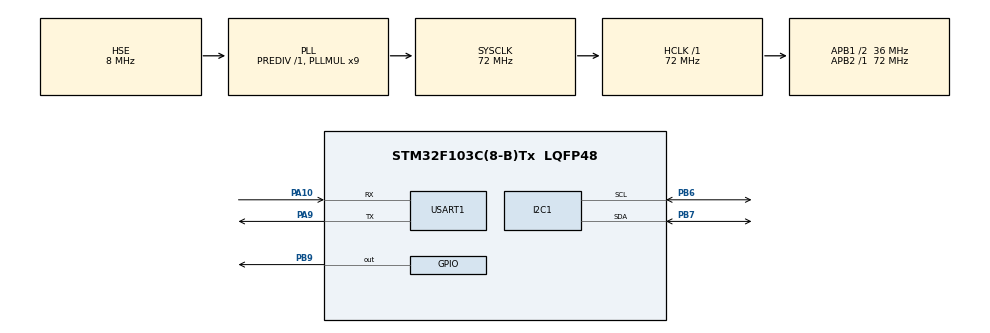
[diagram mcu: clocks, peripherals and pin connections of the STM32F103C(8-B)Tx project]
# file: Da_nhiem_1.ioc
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FREERTOS.Tasks01=DO_DO_AM,24,128,DO_AM,Default,NULL,Dynamic,NULL,NULL;DO_NHIET_DO,24,128,NHIET_DO,Default,NULL,Dynamic,NULL,NULL;HIEN_THI_OLED,24,128,OLED,Default,NULL,Dynamic,NULL,NULL;TRUYEN_UART,24,128,UART,Default,NULL,Dynamic,NULL,NULL
FREERTOS.configUSE_NEWLIB_REENTRANT=1
Mcu.Family=STM32F1
Mcu.Name=STM32F103C(8-B)Tx
Mcu.Package=LQFP48
NVIC.PriorityGroup=NVIC_PRIORITYGROUP_4
NVIC.TIM2_IRQn=true\:15\:0\:false\:false\:true\:false\:false\:true\:true
NVIC.TIM4_IRQn=true\:5\:0\:false\:false\:true\:true\:true\:true\:true
NVIC.TimeBase=TIM2_IRQn
NVIC.TimeBaseIP=TIM2
NVIC.USART1_IRQn=true\:5\:0\:false\:false\:true\:true\:true\:true\:true
PA10.Mode=Asynchronous
PA10.Signal=USART1_RX
PA13.Mode=Serial_Wire
PA13.Signal=SYS_JTMS-SWDIO
PA14.Mode=Serial_Wire
PA14.Signal=SYS_JTCK-SWCLK
PA9.Mode=Asynchronous
PA9.Signal=USART1_TX
PB6.Mode=I2C
PB6.Signal=I2C1_SCL
PB7.Mode=I2C
PB7.Signal=I2C1_SDA
PB9.Signal=GPIO_Output
PD0-OSC_IN.Mode=HSE-External-Oscillator
PD0-OSC_IN.Signal=RCC_OSC_IN
PD1-OSC_OUT.Mode=HSE-External-Oscillator
PD1-OSC_OUT.Signal=RCC_OSC_OUT
ProjectManager.HeapSize=0x200
ProjectManager.StackSize=0x400
ProjectManager.TargetToolchain=STM32CubeIDE
RCC.AHBFreq_Value=72000000
RCC.APB1CLKDivider=RCC_HCLK_DIV2
RCC.APB1Freq_Value=36000000
RCC.APB1TimFreq_Value=72000000
RCC.APB2Freq_Value=72000000
RCC.APB2TimFreq_Value=72000000
RCC.HCLKFreq_Value=72000000
RCC.PLLMUL=RCC_PLL_MUL9
RCC.PLLSourceVirtual=RCC_PLLSOURCE_HSE
RCC.SYSCLKFreq_VALUE=72000000
RCC.SYSCLKSource=RCC_SYSCLKSOURCE_PLLCLK
RCC.USBFreq_Value=72000000
TIM1.Prescaler=71
TIM4.Period=999
TIM4.Prescaler=71
USART1.VirtualMode=VM_ASYNC
VP_FREERTOS_VS_CMSIS_V2.Mode=CMSIS_V2
VP_SYS_VS_tim2.Mode=TIM2
VP_TIM1_VS_ClockSourceINT.Mode=Internal
VP_TIM4_VS_ClockSourceINT.Mode=Internal
board=custom

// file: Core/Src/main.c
/* USER CODE BEGIN Header */
/**
  ******************************************************************************
  * @file           : main.c
  * @brief          : Main program body
  ******************************************************************************
  * @attention
  *
  * Copyright (c) 2025 STMicroelectronics.
  * All rights reserved.
  *
  * This software is licensed under terms that can be found in the LICENSE file
  * in the root directory of this software component.
  * If no LICENSE file comes with this software, it is provided AS-IS.
  *
  ******************************************************************************
  */
/* USER CODE END Header */
#include "main.h"
#include "cmsis_os.h"
#include "ssd1306.h"
#include "fonts.h"
#include "stdio.h"

/* USER CODE BEGIN Includes */
osMutexId_t tempMutexHandle;
osMutexId_t humMutexHandle;
/* USER CODE END Includes */

I2C_HandleTypeDef hi2c1;

TIM_HandleTypeDef htim1;
TIM_HandleTypeDef htim4;

UART_HandleTypeDef huart1;

/* Definitions for HIEN_THI_OLED */
osThreadId_t DO_NHIET_DOHandle;
const osThreadAttr_t DO_NHIET_DO_attributes = {
  .name = "DO_NHIET_DO",
  .stack_size = 512 * 4,
  .priority = (osPriority_t) osPriorityLow,
};
/* Definitions for DO_DO_AM */
osThreadId_t DO_DO_AMHandle;
const osThreadAttr_t DO_DO_AM_attributes = {
  .name = "DO_DO_AM",
  .stack_size = 512 * 4,
  .priority = (osPriority_t) osPriorityLow,
};
osThreadId_t HIEN_THI_OLEDHandle;
const osThreadAttr_t HIEN_THI_OLED_attributes = {
  .name = "HIEN_THI_OLED",
  .stack_size = 256 * 4,
  .priority = (osPriority_t) osPriorityLow,
};
/* Definitions for TRUYEN_UART */
osThreadId_t TRUYEN_UARTHandle;
const osThreadAttr_t TRUYEN_UART_attributes = {
  .name = "TRUYEN_UART",
  .stack_size = 512 * 4,
  .priority = (osPriority_t) osPriorityLow,
};
/* Definitions for DO_NHIET_DO */

void SystemClock_Config(void);
static void MX_GPIO_Init(void);
static void MX_I2C1_Init(void);
static void MX_USART1_UART_Init(void);
static void MX_TIM1_Init(void);
static void MX_TIM4_Init(void);
void OLED(void *argument);
void UART(void *argument);
void NHIET_DO(void *argument);
void DO_AM(void *argument);

/* USER CODE BEGIN 0 */
#define DHT11_PORT GPIOB
#define DHT11_PIN GPIO_PIN_9
uint8_t RHI, RHD, TCI, TCD, SUM;
uint32_t pMillis, cMillis;
float temp = 0;
float humi = 0;

char strCopy[20];

void microDelay (uint16_t delay)
{
  __HAL_TIM_SET_COUNTER(&htim1, 0);
  while (__HAL_TIM_GET_COUNTER(&htim1) < delay);
}

uint8_t DHT11_Start (void)
{
  uint8_t Response = 0;
  GPIO_InitTypeDef GPIO_InitStructPrivate = {0};
  GPIO_InitStructPrivate.Pin = DHT11_PIN;
  GPIO_InitStructPrivate.Mode = GPIO_MODE_OUTPUT_PP;
  GPIO_InitStructPrivate.Speed = GPIO_SPEED_FREQ_LOW;
  GPIO_InitStructPrivate.Pull = GPIO_NOPULL;
  HAL_GPIO_Init(DHT11_PORT, &GPIO_InitStructPrivate); // set the pin as output
  HAL_GPIO_WritePin (DHT11_PORT, DHT11_PIN, 0);   // pull the pin low
  HAL_Delay(20);   // wait for 20ms
  HAL_GPIO_WritePin (DHT11_PORT, DHT11_PIN, 1);   // pull the pin high
  microDelay (30);   // wait for 30us
  GPIO_InitStructPrivate.Mode = GPIO_MODE_INPUT;
  GPIO_InitStructPrivate.Pull = GPIO_PULLUP;
  HAL_GPIO_Init(DHT11_PORT, &GPIO_InitStructPrivate); // set the pin as input
  microDelay (40);
  if (!(HAL_GPIO_ReadPin (DHT11_PORT, DHT11_PIN)))
  {
    microDelay (80);
    if ((HAL_GPIO_ReadPin (DHT11_PORT, DHT11_PIN))) Response = 1;
  }
  pMillis = HAL_GetTick();
  cMillis = HAL_GetTick();
  while ((HAL_GPIO_ReadPin (DHT11_PORT, DHT11_PIN)) && pMillis + 2 > cMillis)
  {
    cMillis = HAL_GetTick();
  }
  return Response;
}

uint8_t DHT11_Read (void)
{
  uint8_t a,b;
  for (a=0;a<8;a++)
  {
    pMillis = HAL_GetTick();
    cMillis = HAL_GetTick();
    while (!(HAL_GPIO_ReadPin (DHT11_PORT, DHT11_PIN)) && pMillis + 2 > cMillis)
    {  // wait for the pin to go high
      cMillis = HAL_GetTick();
    }
    microDelay (40);   // wait for 40 us
    if (!(HAL_GPIO_ReadPin (DHT11_PORT, DHT11_PIN)))   // if the pin is low
      b&= ~(1<<(7-a));
    else
      b|= (1<<(7-a));
    pMillis = HAL_GetTick();
    cMillis = HAL_GetTick();
    while ((HAL_GPIO_ReadPin (DHT11_PORT, DHT11_PIN)) && pMillis + 2 > cMillis)
    {  // wait for the pin to go low
      cMillis = HAL_GetTick();
    }
  }
  return b;
}

/* USER CODE END 0 */

int main(void)
{

  /* MCU Configuration--------------------------------------------------------*/

  /* Reset of all peripherals, Initializes the Flash interface and the Systick. */
  HAL_Init();

  /* Configure the system clock */
  SystemClock_Config();

  /* Initialize all configured peripherals */
  MX_GPIO_Init();
  MX_I2C1_Init();
  MX_USART1_UART_Init();
  MX_TIM1_Init();
  MX_TIM4_Init();
  /* USER CODE BEGIN 2 */
  HAL_TIM_Base_Start(&htim1);
    SSD1306_Init();

  /* USER CODE END 2 */

  /* Init scheduler */
  osKernelInitialize();

  /* USER CODE BEGIN RTOS_MUTEX */
  /* add mutexes, ... */
  tempMutexHandle = osMutexNew(NULL);
   humMutexHandle = osMutexNew(NULL);
  /* USER CODE END RTOS_MUTEX */

    DO_NHIET_DOHandle = osThreadNew(NHIET_DO, NULL, &DO_NHIET_DO_attributes);

     /* creation of DO_DO_AM */
     DO_DO_AMHandle = osThreadNew(DO_AM, NULL, &DO_DO_AM_attributes);
  /* Create the thread(s) */
  /* creation of HIEN_THI_OLED */
     TRUYEN_UARTHandle = osThreadNew(UART, NULL, &TRUYEN_UART_attributes);
  HIEN_THI_OLEDHandle = osThreadNew(OLED, NULL, &HIEN_THI_OLED_attributes);

  /* creation of TRUYEN_UART */

  /* creation of DO_NHIET_DO */

  /* Start scheduler */
  osKernelStart();

  /* We should never get here as control is now taken by the scheduler */

  /* Infinite loop */
  while (1)
  {

  }
}

void SystemClock_Config(void)
{
  RCC_OscInitTypeDef RCC_OscInitStruct = {0};
  RCC_ClkInitTypeDef RCC_ClkInitStruct = {0};

  /** Initializes the RCC Oscillators according to the specified parameters
  * in the RCC_OscInitTypeDef structure.
  */
  RCC_OscInitStruct.OscillatorType = RCC_OSCILLATORTYPE_HSE;
  RCC_OscInitStruct.HSEState = RCC_HSE_ON;
  RCC_OscInitStruct.HSEPredivValue = RCC_HSE_PREDIV_DIV1;
  RCC_OscInitStruct.HSIState = RCC_HSI_ON;
  RCC_OscInitStruct.PLL.PLLState = RCC_PLL_ON;
  RCC_OscInitStruct.PLL.PLLSource = RCC_PLLSOURCE_HSE;
  RCC_OscInitStruct.PLL.PLLMUL = RCC_PLL_MUL9;
  if (HAL_RCC_OscConfig(&RCC_OscInitStruct) != HAL_OK)
  {
    Error_Handler();
  }

  /** Initializes the CPU, AHB and APB buses clocks
  */
  RCC_ClkInitStruct.ClockType = RCC_CLOCKTYPE_HCLK|RCC_CLOCKTYPE_SYSCLK
                              |RCC_CLOCKTYPE_PCLK1|RCC_CLOCKTYPE_PCLK2;
  RCC_ClkInitStruct.SYSCLKSource = RCC_SYSCLKSOURCE_PLLCLK;
  RCC_ClkInitStruct.AHBCLKDivider = RCC_SYSCLK_DIV1;
  RCC_ClkInitStruct.APB1CLKDivider = RCC_HCLK_DIV2;
  RCC_ClkInitStruct.APB2CLKDivider = RCC_HCLK_DIV1;

  if (HAL_RCC_ClockConfig(&RCC_ClkInitStruct, FLASH_LATENCY_2) != HAL_OK)
  {
    Error_Handler();
  }
}

static void MX_I2C1_Init(void)
{

  hi2c1.Instance = I2C1;
  hi2c1.Init.ClockSpeed = 400000;
  hi2c1.Init.DutyCycle = I2C_DUTYCYCLE_2;
  hi2c1.Init.OwnAddress1 = 0;
  hi2c1.Init.AddressingMode = I2C_ADDRESSINGMODE_7BIT;
  hi2c1.Init.DualAddressMode = I2C_DUALADDRESS_DISABLE;
  hi2c1.Init.OwnAddress2 = 0;
  hi2c1.Init.GeneralCallMode = I2C_GENERALCALL_DISABLE;
  hi2c1.Init.NoStretchMode = I2C_NOSTRETCH_DISABLE;
  if (HAL_I2C_Init(&hi2c1) != HAL_OK)
  {
    Error_Handler();
  }

}

static void MX_TIM1_Init(void)
{

  TIM_ClockConfigTypeDef sClockSourceConfig = {0};
  TIM_MasterConfigTypeDef sMasterConfig = {0};

  htim1.Instance = TIM1;
  htim1.Init.Prescaler = 71;
  htim1.Init.CounterMode = TIM_COUNTERMODE_UP;
  htim1.Init.Period = 65535;
  htim1.Init.ClockDivision = TIM_CLOCKDIVISION_DIV1;
  htim1.Init.RepetitionCounter = 0;
  htim1.Init.AutoReloadPreload = TIM_AUTORELOAD_PRELOAD_DISABLE;
  if (HAL_TIM_Base_Init(&htim1) != HAL_OK)
  {
    Error_Handler();
  }
  sClockSourceConfig.ClockSource = TIM_CLOCKSOURCE_INTERNAL;
  if (HAL_TIM_ConfigClockSource(&htim1, &sClockSourceConfig) != HAL_OK)
  {
    Error_Handler();
  }
  sMasterConfig.MasterOutputTrigger = TIM_TRGO_RESET;
  sMasterConfig.MasterSlaveMode = TIM_MASTERSLAVEMODE_DISABLE;
  if (HAL_TIMEx_MasterConfigSynchronization(&htim1, &sMasterConfig) != HAL_OK)
  {
    Error_Handler();
  }

}

static void MX_TIM4_Init(void)
{

  /* USER CODE BEGIN TIM4_Init 0 */
	 __HAL_RCC_TIM4_CLK_ENABLE();
  /* USER CODE END TIM4_Init 0 */

  TIM_ClockConfigTypeDef sClockSourceConfig = {0};
  TIM_MasterConfigTypeDef sMasterConfig = {0};

  htim4.Instance = TIM4;
  htim4.Init.Prescaler = 71;
  htim4.Init.CounterMode = TIM_COUNTERMODE_UP;
  htim4.Init.Period = 999;
  htim4.Init.ClockDivision = TIM_CLOCKDIVISION_DIV1;
  htim4.Init.AutoReloadPreload = TIM_AUTORELOAD_PRELOAD_ENABLE;
  if (HAL_TIM_Base_Init(&htim4) != HAL_OK)
  {
    Error_Handler();
  }
  sClockSourceConfig.ClockSource = TIM_CLOCKSOURCE_INTERNAL;
  if (HAL_TIM_ConfigClockSource(&htim4, &sClockSourceConfig) != HAL_OK)
  {
    Error_Handler();
  }
  sMasterConfig.MasterOutputTrigger = TIM_TRGO_RESET;
  sMasterConfig.MasterSlaveMode = TIM_MASTERSLAVEMODE_DISABLE;
  if (HAL_TIMEx_MasterConfigSynchronization(&htim4, &sMasterConfig) != HAL_OK)
  {
    Error_Handler();
  }
  /* USER CODE BEGIN TIM4_Init 2 */
  HAL_NVIC_EnableIRQ(TIM4_IRQn);
  HAL_TIM_Base_Start_IT(&htim4);
  /* USER CODE END TIM4_Init 2 */

}

static void MX_USART1_UART_Init(void)
{

  huart1.Instance = USART1;
  huart1.Init.BaudRate = 115200;
  huart1.Init.WordLength = UART_WORDLENGTH_8B;
  huart1.Init.StopBits = UART_STOPBITS_1;
  huart1.Init.Parity = UART_PARITY_NONE;
  huart1.Init.Mode = UART_MODE_TX_RX;
  huart1.Init.HwFlowCtl = UART_HWCONTROL_NONE;
  huart1.Init.OverSampling = UART_OVERSAMPLING_16;
  if (HAL_UART_Init(&huart1) != HAL_OK)
  {
    Error_Handler();
  }

}

static void MX_GPIO_Init(void)
{
  GPIO_InitTypeDef GPIO_InitStruct = {0};

  /* GPIO Ports Clock Enable */
  __HAL_RCC_GPIOD_CLK_ENABLE();
  __HAL_RCC_GPIOA_CLK_ENABLE();
  __HAL_RCC_GPIOB_CLK_ENABLE();

  /*Configure GPIO pin Output Level */
  HAL_GPIO_WritePin(GPIOB, GPIO_PIN_9, GPIO_PIN_RESET);

  /*Configure GPIO pin : PB9 */
  GPIO_InitStruct.Pin = GPIO_PIN_9;
  GPIO_InitStruct.Mode = GPIO_MODE_OUTPUT_PP;
  GPIO_InitStruct.Pull = GPIO_NOPULL;
  GPIO_InitStruct.Speed = GPIO_SPEED_FREQ_LOW;
  HAL_GPIO_Init(GPIOB, &GPIO_InitStruct);

}

/* USER CODE BEGIN Header_OLED */
/**
  * @brief  Function implementing the HIEN_THI_OLED thread.
  * @param  argument: Not used
  * @retval None
  */
void NHIET_DO(void *argument) {
    for (;;) {
        osMutexAcquire(tempMutexHandle, osWaitForever);
        if(DHT11_Start())
       		      {
       		        RHI = DHT11_Read(); // Relative humidity integral
       		        RHD = DHT11_Read(); // Relative humidity decimal
       		        TCI = DHT11_Read(); // Celsius integral
       		        TCD = DHT11_Read(); // Celsius decimal
       		        SUM = DHT11_Read(); // Check sum
       		        if (RHI + RHD + TCI + TCD == SUM)
       		        {

       		         temp = (float)TCI + (float)(TCD/10.0);

       }
       		      }
        osMutexRelease(tempMutexHandle);

        osDelay(1000);
    }
}

/* Task đo độ ẩm */
void DO_AM(void *argument) {
    for (;;) {
        osMutexAcquire(humMutexHandle, osWaitForever);

   	 if(DHT11_Start())
   		      {
   		        RHI = DHT11_Read(); // Relative humidity integral
   		        RHD = DHT11_Read(); // Relative humidity decimal
   		        TCI = DHT11_Read(); // Celsius integral
   		        TCD = DHT11_Read(); // Celsius decimal
   		        SUM = DHT11_Read(); // Check sum
   		       if (RHI + RHD + TCI + TCD == SUM)
   		       		        {
   		          humi = (float)RHI + (float)(RHD/10.0);

    }

} osMutexRelease(humMutexHandle);
   	 osDelay(1000);
    }
}
/* USER CODE END Header_OLED */
void OLED(void *argument) {
    for (;;) {
        osMutexAcquire(tempMutexHandle, osWaitForever);
        osMutexAcquire(humMutexHandle, osWaitForever);

        SSD1306_Clear();
        sprintf(strCopy, "TEMP :%.1f C  ", temp);
        SSD1306_GotoXY(0, 0);
        SSD1306_Puts(strCopy, &Font_7x10, 1);

        sprintf(strCopy, "HUMI :%.1f %%  ", humi);
        SSD1306_GotoXY(0, 30);
        SSD1306_Puts(strCopy, &Font_7x10, 1);
        SSD1306_UpdateScreen();

        osMutexRelease(tempMutexHandle);
        osMutexRelease(humMutexHandle);

        osDelay(3000);
}
}
/* Task UART */
void UART(void *argument) {
    char buffer[100];
    for (;;) {
        osMutexAcquire(tempMutexHandle, osWaitForever);
        osMutexAcquire(humMutexHandle, osWaitForever);

        snprintf(buffer, sizeof(buffer), "Temperature: %.1f C, Humidity: %.1f %%\r\n", temp, humi);
        osMutexRelease(tempMutexHandle);
        osMutexRelease(humMutexHandle);

        if (HAL_UART_Transmit(&huart1, (uint8_t*)buffer, strlen(buffer), HAL_MAX_DELAY) != HAL_OK) {
            Error_Handler();
        }

        osDelay(3000);
    }
}

/* Task đo nhiệt độ */

void HAL_TIM_PeriodElapsedCallback(TIM_HandleTypeDef *htim)
{
  if (htim->Instance == TIM2) {
    HAL_IncTick();
  }
}

void Error_Handler(void)
{
  __disable_irq();
  while (1)
  {
  }
}
